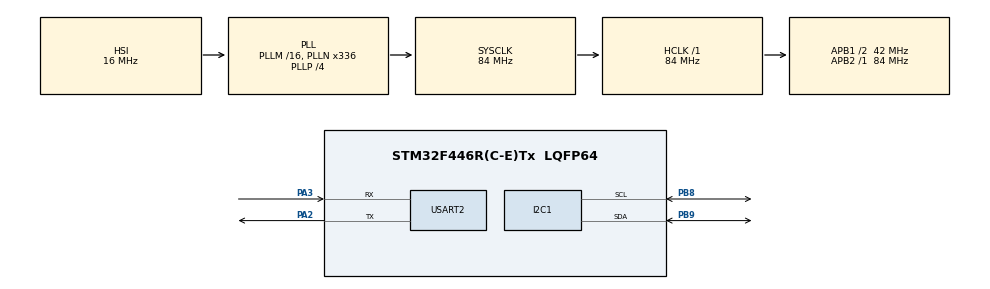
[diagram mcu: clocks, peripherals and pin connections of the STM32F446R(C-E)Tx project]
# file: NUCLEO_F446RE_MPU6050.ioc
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Mcu.Family=STM32F4
Mcu.Name=STM32F446R(C-E)Tx
Mcu.Package=LQFP64
NVIC.PriorityGroup=NVIC_PRIORITYGROUP_0
PA2.Mode=Asynchronous
PA2.Signal=USART2_TX
PA3.Mode=Asynchronous
PA3.Signal=USART2_RX
PB8.Mode=I2C
PB8.Signal=I2C1_SCL
PB9.Mode=I2C
PB9.Signal=I2C1_SDA
ProjectManager.HeapSize=0x200
ProjectManager.StackSize=0x400
ProjectManager.TargetToolchain=STM32CubeIDE
RCC.48MHZClocksFreq_Value=84000000
RCC.AHBFreq_Value=84000000
RCC.APB1CLKDivider=RCC_HCLK_DIV2
RCC.APB1Freq_Value=42000000
RCC.APB1TimFreq_Value=84000000
RCC.APB2Freq_Value=84000000
RCC.APB2TimFreq_Value=84000000
RCC.CortexFreq_Value=84000000
RCC.FLatency-AdvancedSettings=FLASH_LATENCY_2
RCC.HCLKFreq_Value=84000000
RCC.HSE_VALUE=8000000
RCC.HSI_VALUE=16000000
RCC.PLLN=336
RCC.PLLP=RCC_PLLP_DIV4
RCC.SYSCLKFreq_VALUE=84000000
RCC.SYSCLKSource=RCC_SYSCLKSOURCE_PLLCLK
RCC.USBFreq_Value=168000000
RCC.VCOOutputFreq_Value=336000000
USART2.VirtualMode=VM_ASYNC
board=NUCLEO-F446RE

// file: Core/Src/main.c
/* USER CODE BEGIN Header */
/**
  ******************************************************************************
  * @file           : main.c
  * @brief          : Main program body
  ******************************************************************************
  * @attention
  *
  * Copyright (c) 2025 STMicroelectronics.
  * All rights reserved.
  *
  * This software is licensed under terms that can be found in the LICENSE file
  * in the root directory of this software component.
  * If no LICENSE file comes with this software, it is provided AS-IS.
  *
  ******************************************************************************
  */
/* USER CODE END Header */
#include "main.h"

/* USER CODE BEGIN Includes */
#include "i2c_scanner.h"
#include "mpu6050.h"
#include "uart.h"
/* USER CODE END Includes */

I2C_HandleTypeDef hi2c1;

UART_HandleTypeDef huart2;

/* USER CODE BEGIN PV */

// Acelerômetro
int16_t ax, ay, az;
float axg, ayg, azg;

//Temperatura
int16_t t_centi;

//Giroscópio
int16_t gx, gy, gz;
int16_t gx_cdps, gy_cdps, gz_cdps;
/* USER CODE END PV */

void SystemClock_Config(void);
static void MX_GPIO_Init(void);
static void MX_I2C1_Init(void);
static void MX_USART2_UART_Init(void);

int main(void)
{

  /* MCU Configuration--------------------------------------------------------*/

  /* Reset of all peripherals, Initializes the Flash interface and the Systick. */
  HAL_Init();

  /* Configure the system clock */
  SystemClock_Config();

  /* Initialize all configured peripherals */
  MX_GPIO_Init();
  MX_I2C1_Init();
  MX_USART2_UART_Init();
  /* USER CODE BEGIN 2 */

  I2C_ScanBus(&hi2c1, &huart2);
  MPU6050_Check(&hi2c1, &huart2);
  MPU6050_SetAccelRange_2g(&hi2c1);
  MPU6050_SetGyroRange_250dps(&hi2c1);

  /* USER CODE END 2 */

  /* Infinite loop */
  /* USER CODE BEGIN WHILE */
  while (1)
  {
	    UART_SendStrln (&huart2,"----------------------------------------");

	    if (MPU6050_ReadAccelRaw(&hi2c1, &ax, &ay, &az) == HAL_OK) {

	        MPU6050_AccelRawTo_g_2g(ax, ay, az, &axg, &ayg, &azg);
	        //UART_Printf(&huart2, "ACC raw: %6d %6d %6d | ", ax, ay, az);
	        UART_SendStr(&huart2, "g: ");
	        UART_SendFloat3(&huart2, axg); UART_SendStr(&huart2, " ");
	        UART_SendFloat3(&huart2, ayg); UART_SendStr(&huart2, " ");
	        UART_SendFloat3(&huart2, azg); UART_SendStrln(&huart2, "");

	    } else {
	        UART_SendStrln(&huart2, "Falha leitura ACC");
	    }

	    HAL_Delay(100);

	    if (MPU6050_ReadTemp_centiC(&hi2c1, &t_centi) == HAL_OK) {
	        int neg = (t_centi < 0);
	        int16_t mag = neg ? (int16_t)(-t_centi) : t_centi;   // magnitude positiva
	        UART_Printfln(&huart2, "Temp: %s%d.%02d C",
	                      neg ? "-" : "", mag/100, mag%100);
	    } else {
	        UART_SendStrln(&huart2, "Falha leitura temperatura");
	    }

	    if (MPU6050_ReadGyroRaw(&hi2c1, &gx, &gy, &gz) == HAL_OK) {
	        MPU6050_GyroRawTo_cdegps_250dps(gx, gy, gz, &gx_cdps, &gy_cdps, &gz_cdps);

	        /* Envia bruto e convertido (centi-deg/s) via UART (sem %f) */
	        //UART_Printfln(&huart2, "GYR raw: %6d %6d %6d | " ,gx, gy, gz);
	        UART_Printfln(&huart2, "cdps: %6d %6d %6d",gx_cdps, gy_cdps, gz_cdps);
	    } else {
	        UART_SendStrln(&huart2, "Falha leitura GYRO");
	    }

	    UART_SendStrln (&huart2,"----------------------------------------");
	    HAL_Delay(2000);
    /* USER CODE END WHILE */

  }
}

void SystemClock_Config(void)
{
  RCC_OscInitTypeDef RCC_OscInitStruct = {0};
  RCC_ClkInitTypeDef RCC_ClkInitStruct = {0};

  /** Configure the main internal regulator output voltage
  */
  __HAL_RCC_PWR_CLK_ENABLE();
  __HAL_PWR_VOLTAGESCALING_CONFIG(PWR_REGULATOR_VOLTAGE_SCALE3);

  /** Initializes the RCC Oscillators according to the specified parameters
  * in the RCC_OscInitTypeDef structure.
  */
  RCC_OscInitStruct.OscillatorType = RCC_OSCILLATORTYPE_HSI;
  RCC_OscInitStruct.HSIState = RCC_HSI_ON;
  RCC_OscInitStruct.HSICalibrationValue = RCC_HSICALIBRATION_DEFAULT;
  RCC_OscInitStruct.PLL.PLLState = RCC_PLL_ON;
  RCC_OscInitStruct.PLL.PLLSource = RCC_PLLSOURCE_HSI;
  RCC_OscInitStruct.PLL.PLLM = 16;
  RCC_OscInitStruct.PLL.PLLN = 336;
  RCC_OscInitStruct.PLL.PLLP = RCC_PLLP_DIV4;
  RCC_OscInitStruct.PLL.PLLQ = 2;
  RCC_OscInitStruct.PLL.PLLR = 2;
  if (HAL_RCC_OscConfig(&RCC_OscInitStruct) != HAL_OK)
  {
    Error_Handler();
  }

  /** Initializes the CPU, AHB and APB buses clocks
  */
  RCC_ClkInitStruct.ClockType = RCC_CLOCKTYPE_HCLK|RCC_CLOCKTYPE_SYSCLK
                              |RCC_CLOCKTYPE_PCLK1|RCC_CLOCKTYPE_PCLK2;
  RCC_ClkInitStruct.SYSCLKSource = RCC_SYSCLKSOURCE_PLLCLK;
  RCC_ClkInitStruct.AHBCLKDivider = RCC_SYSCLK_DIV1;
  RCC_ClkInitStruct.APB1CLKDivider = RCC_HCLK_DIV2;
  RCC_ClkInitStruct.APB2CLKDivider = RCC_HCLK_DIV1;

  if (HAL_RCC_ClockConfig(&RCC_ClkInitStruct, FLASH_LATENCY_2) != HAL_OK)
  {
    Error_Handler();
  }
}

static void MX_I2C1_Init(void)
{

  hi2c1.Instance = I2C1;
  hi2c1.Init.ClockSpeed = 100000;
  hi2c1.Init.DutyCycle = I2C_DUTYCYCLE_2;
  hi2c1.Init.OwnAddress1 = 0;
  hi2c1.Init.AddressingMode = I2C_ADDRESSINGMODE_7BIT;
  hi2c1.Init.DualAddressMode = I2C_DUALADDRESS_DISABLE;
  hi2c1.Init.OwnAddress2 = 0;
  hi2c1.Init.GeneralCallMode = I2C_GENERALCALL_DISABLE;
  hi2c1.Init.NoStretchMode = I2C_NOSTRETCH_DISABLE;
  if (HAL_I2C_Init(&hi2c1) != HAL_OK)
  {
    Error_Handler();
  }

}

static void MX_USART2_UART_Init(void)
{

  huart2.Instance = USART2;
  huart2.Init.BaudRate = 115200;
  huart2.Init.WordLength = UART_WORDLENGTH_8B;
  huart2.Init.StopBits = UART_STOPBITS_1;
  huart2.Init.Parity = UART_PARITY_NONE;
  huart2.Init.Mode = UART_MODE_TX_RX;
  huart2.Init.HwFlowCtl = UART_HWCONTROL_NONE;
  huart2.Init.OverSampling = UART_OVERSAMPLING_16;
  if (HAL_UART_Init(&huart2) != HAL_OK)
  {
    Error_Handler();
  }

}

static void MX_GPIO_Init(void)
{

  /* GPIO Ports Clock Enable */
  __HAL_RCC_GPIOA_CLK_ENABLE();
  __HAL_RCC_GPIOB_CLK_ENABLE();

}

void Error_Handler(void)
{
  __disable_irq();
  while (1)
  {
  }
}
